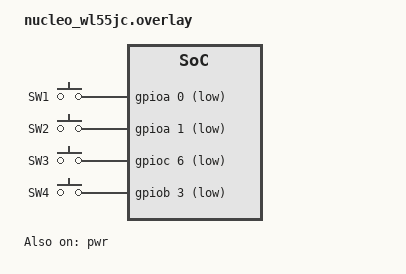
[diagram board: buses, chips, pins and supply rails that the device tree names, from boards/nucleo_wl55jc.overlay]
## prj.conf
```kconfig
CONFIG_LOG=y
CONFIG_LORA=y
CONFIG_LORAWAN=y
CONFIG_LORAMAC_REGION_EU868=y
CONFIG_MAIN_STACK_SIZE=2048
CONFIG_SYSTEM_WORKQUEUE_STACK_SIZE=2048

CONFIG_PM=y
CONFIG_PM_DEVICE=y
CONFIG_PM_DEVICE_RUNTIME=y
CONFIG_PM_DEVICE_SYSTEM_MANAGED=y


CONFIG_POWEROFF=y
CONFIG_STM32_WKUP_PINS=y
CONFIG_GPIO=y


CONFIG_FLASH=y
CONFIG_FLASH_MAP=y
CONFIG_NVS=y
CONFIG_SETTINGS=y
CONFIG_SETTINGS_NVS=y # Use NVS as the backend for settings

# Depending on your STM32WL55 flash configuration, you might need
# SOC-specific flash driver options enabled as well.
# e.g., CONFIG_FLASH_STM32_FLASH_SUBSEC=y (if applicable to your variant/driver)
```

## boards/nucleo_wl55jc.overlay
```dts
/*
 * Copyright (c) 2024 STMicroelectronics
 *
 * SPDX-License-Identifier: Apache-2.0
 */

 // app.overlay
/ {
    chosen {
        zephyr,settings = &settings_partition;
    };
};

&flash0 {
    partitions {
        compatible = "fixed-partitions";
        //#address-cells = ;
        //#size-cells = ;
		#address-cells = <1>;
		#size-cells = <1>;


        // Assuming your application partition is defined elsewhere
        // or takes up space from flash_primary automatically.

        settings_partition: partition@3e000 { // For 256KB Flash
            label = "storage";
            reg = <0x0003e000 0x00002000>;   // Start: 0x0803E000, Size: 8KB
        };
    };
};

/{
	gpio_keys {
		compatible = "gpio-keys";
		user_button_1: button_0 {
			label = "SW1";
			gpios = <&gpioa 0 (GPIO_ACTIVE_LOW | GPIO_PULL_UP)>;
			zephyr,code = <INPUT_KEY_0>;
		};
		user_button_2: button_1 {
			label = "SW2";
			gpios = <&gpioa 1 (GPIO_ACTIVE_LOW | GPIO_PULL_UP)>;
			zephyr,code = <INPUT_KEY_1>;
		};
		user_button_3: button_2 {
			label = "SW3";
			gpios = <&gpioc 6 (GPIO_ACTIVE_LOW | GPIO_PULL_UP)>;
			zephyr,code = <INPUT_KEY_2>;
		};
 		user_button_4: button_3 {
			label = "SW4";
			gpios = <&gpiob 3 (GPIO_ACTIVE_LOW | GPIO_PULL_UP)>;
			zephyr,code = <INPUT_KEY_3>;
		};
	};
};

/* make sure GPIOB is enabled */
&gpiob {
    status = "okay";
};

/{
    aliases {
        /* now alias wkup-src to that node’s phandle only */
        wkup-src = &user_button_1;
        led1     = &blue_led_1;
        led2     = &green_led_2;
    };
};

&pwr {
	status = "okay";
};
```

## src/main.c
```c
/*
 * Class A LoRaWAN sample application
 *
 * Copyright (c) 2020 Manivannan Sadhasivam <mani@kernel.org>
 *
 * SPDX-License-Identifier: Apache-2.0
 */

#include <zephyr/device.h>
#include <zephyr/lorawan/lorawan.h>
#include <zephyr/kernel.h>

#include <zephyr/device.h>
#include <zephyr/devicetree.h>
#include <zephyr/drivers/gpio.h>
#include <zephyr/sys/poweroff.h>
#include <zephyr/dt-bindings/gpio/stm32-gpio.h>


#include <zephyr/settings/settings.h>



// Variable to hold the dev_nonce in RAM
static uint16_t lorawan_dev_nonce; // LoRaWAN dev_nonce is typically uint16_t but can go up to 2^16-1.
                                 // The LoRaWAN MAC layer in Zephyr might handle the actual dev_nonce.
                                 // What you often need to save is the *frame counter* for persisted sessions,
                                 // or ensure the MAC layer itself persists its dev_nonce.
                                 // Let's assume you're managing it directly for this example,
                                 // or you're saving a related parameter that the stack uses.

// For this example, let's assume we're directly managing and saving the dev_nonce.
// In practice, you'd interface this with the Zephyr LoRaWAN stack's mechanism.
// The Zephyr LoRaWAN stack *should* ideally handle persisting its internal dev_nonce
// if NVS/Settings is enabled. This example shows how you *could* do it manually.

static int lorawan_settings_set(const char *name, size_t len_rd, settings_read_cb read_cb, void *cb_arg) {
    const char *next;
    int rc;

    if (settings_name_steq(name, "dev_nonce", &next) && !next) {
        if (len_rd == 0) { // Key found but no data (should not happen for scalar)
            printk("Error: dev_nonce read with no data\n");
            return -EINVAL;
        }
        rc = read_cb(cb_arg, &lorawan_dev_nonce, sizeof(lorawan_dev_nonce));
        if (rc < 0) {
            printk("Error reading dev_nonce: %d\n", rc);
            return rc;
        }
        printk("SETTINGS: Loaded dev_nonce: %u\n", lorawan_dev_nonce);
        return 0;
    }
    return -ENOENT; // Setting not found
}


// Define the settings handler
SETTINGS_STATIC_HANDLER_DEFINE(
    lorawan_creds,             // Name of the settings group
    "lorawan",                 // Root name in the settings tree (e.g., "lorawan/dev_nonce")
    NULL,                      // Optional get function (can be NULL if direct variable access is ok)
    lorawan_settings_set,      // Set function (called when loading from NVS)
    NULL,                      // Optional commit function (called after all settings in a group are set)
    NULL                       // Optional export function (called when saving all settings)
);


// Function to initialize settings and load stored dev_nonce
void lorawan_settings_init(void) {
    int rc;
    rc = settings_subsys_init();
    if (rc) {
        printk("ERROR: settings_subsys_init failed (rc %d)\n", rc);
        return;
    }

    // Load the specific setting. This will call lorawan_settings_set if "lorawan/dev_nonce" exists.
    rc = settings_load_subtree("lorawan");
    if (rc == -ENOENT) {
        printk("SETTINGS: No lorawan settings found in NVS. Using defaults.\n");
        lorawan_dev_nonce = 0; // Default if not found
    } else if (rc) {
        printk("ERROR: Failed to load lorawan settings (rc %d)\n", rc);
    }

    printk("SETTINGS: Initial dev_nonce: %u\n", lorawan_dev_nonce);
}

// Function to save the current dev_nonce
void lorawan_settings_save_dev_nonce(uint16_t new_dev_nonce) {
    lorawan_dev_nonce = new_dev_nonce;
    int rc = settings_save_one("lorawan/dev_nonce", &lorawan_dev_nonce, sizeof(lorawan_dev_nonce));
    if (rc) {
        printk("ERROR: Failed to save dev_nonce: %d\n", rc);
    } else {
        printk("SETTINGS: Saved dev_nonce: %u\n", lorawan_dev_nonce);
    }
}


uint16_t lorawan_get_next_dev_nonce(void) {
    return lorawan_dev_nonce;
}

void lorawan_increment_and_save_dev_nonce(void) {
    lorawan_dev_nonce++; // Or however your stack provides the next nonce
    lorawan_settings_save_dev_nonce(lorawan_dev_nonce);
}

#define WAIT_TIME_US 4000000

#define WKUP_SRC_NODE DT_ALIAS(wkup_src)
#if !DT_NODE_HAS_STATUS_OKAY(WKUP_SRC_NODE)
#error "Unsupported board: wkup_src devicetree alias is not defined"
#endif

static const struct gpio_dt_spec button = GPIO_DT_SPEC_GET(WKUP_SRC_NODE, gpios);
static const struct gpio_dt_spec led_0 = GPIO_DT_SPEC_GET(DT_ALIAS(led0), gpios);
static const struct gpio_dt_spec led_1 = GPIO_DT_SPEC_GET(DT_ALIAS(led1), gpios);
static const struct gpio_dt_spec led_2 = GPIO_DT_SPEC_GET(DT_ALIAS(led2), gpios);

/* Customize based on network configuration */
#define LORAWAN_DEV_EUI			{ 0x00, 0x80, 0xE1, 0x15, 0x05, 0x31, 0x08, 0x37 }
#define LORAWAN_JOIN_EUI		{ 0x01, 0x01, 0x01, 0x01, 0x01, 0x01,\
					  0x01, 0x01 }
#define LORAWAN_APP_KEY			{ 0x2B, 0x7E, 0x15, 0x16, 0x28, 0xAE,\
					  0xD2, 0xA6, 0xAB, 0xF7, 0x15, 0x88,\
					  0x09, 0xCF, 0x4F, 0x3C }

#define DELAY K_MSEC(120000)



#define LOG_LEVEL CONFIG_LOG_DEFAULT_LEVEL
#include <zephyr/logging/log.h>
LOG_MODULE_REGISTER(lorawan_class_a);

char data[] = {'h', 'e', 'l', 'l', 'o', 'w', 'o', 'r', 'l', 'd'};

static void dl_callback(uint8_t port, uint8_t flags, int16_t rssi, int8_t snr, uint8_t len,
			const uint8_t *hex_data)
{
	LOG_INF("Port %d, Pending %d, RSSI %ddB, SNR %ddBm, Time %d", port,
		flags & LORAWAN_DATA_PENDING, rssi, snr, !!(flags & LORAWAN_TIME_UPDATED));
	if (hex_data) {
		LOG_HEXDUMP_INF(hex_data, len, "Payload: ");
	}
}

static void lorwan_datarate_changed(enum lorawan_datarate dr)
{
	uint8_t unused, max_size;

	lorawan_get_payload_sizes(&unused, &max_size);
	LOG_INF("New Datarate: DR_%d, Max Payload %d", dr, max_size);
}

int main(void)
{

	__ASSERT_NO_MSG(gpio_is_ready_dt(&led_0));
	gpio_pin_configure_dt(&led_0, GPIO_OUTPUT_ACTIVE);
	gpio_pin_set(led_0.port, led_0.pin, 1);

	const struct device *lora_dev;
	struct lorawan_join_config join_cfg;
	uint8_t dev_eui[] = LORAWAN_DEV_EUI;
	uint8_t join_eui[] = LORAWAN_JOIN_EUI;
	uint8_t app_key[] = LORAWAN_APP_KEY;
	int ret;

    /* Configure wakeup pin (wkup) as input and read its value */
    const struct gpio_dt_spec wkup = GPIO_DT_SPEC_GET(WKUP_SRC_NODE, gpios);
    if (!device_is_ready(wkup.port)) {
        LOG_ERR("Wakeup GPIO device not ready");
        return 0;
    }
    ret = gpio_pin_configure_dt(&wkup, GPIO_INPUT);
    if (ret < 0) {
        LOG_ERR("Failed to configure wakeup pin: %d", ret);
        return 0;
    }
    int val = gpio_pin_get_dt(&wkup);
    if (val < 0) {
        LOG_ERR("Failed to read wakeup pin: %d", val);
        return 0;
    }
    LOG_INF("Wakeup pin value: %d", val);

	if(val == 0) {
		gpio_pin_set(led_0.port, led_0.pin, 0);
		/* Setup button GPIO pin as a source for exiting Poweroff */
		gpio_pin_configure_dt(&button, STM32_GPIO_WKUP);
		/* If the wakeup pin is low, enter low power mode */
		LOG_INF("Entering low power mode...");
		k_sleep(K_MSEC(WAIT_TIME_US / 1000));
		sys_poweroff();

	} else {
		LOG_INF("Wakeup pin is high, continuing...");
	}

	struct lorawan_downlink_cb downlink_cb = {
		.port = LW_RECV_PORT_ANY,
		.cb = dl_callback
	};

	lora_dev = DEVICE_DT_GET(DT_ALIAS(lora0));
	if (!device_is_ready(lora_dev)) {
		LOG_ERR("%s: device not ready.", lora_dev->name);
		return 0;
	}

#if defined(CONFIG_LORAMAC_REGION_EU868)
	/* If more than one region Kconfig is selected, app should set region
	 * before calling lorawan_start()
	 */
	ret = lorawan_set_region(LORAWAN_REGION_EU868);
	if (ret < 0) {
		LOG_ERR("lorawan_set_region failed: %d", ret);
		return 0;
	}
#endif

	__ASSERT_NO_MSG(gpio_is_ready_dt(&led_1));
	gpio_pin_configure_dt(&led_1, GPIO_OUTPUT_ACTIVE);
	gpio_pin_set(led_1.port, led_1.pin, 1);

	ret = lorawan_start();
	if (ret < 0) {
		LOG_ERR("lorawan_start failed: %d", ret);
		return 0;
	}

	lorawan_register_downlink_callback(&downlink_cb);
	lorawan_register_dr_changed_callback(lorwan_datarate_changed);
	lorawan_settings_init();
	join_cfg.mode = LORAWAN_ACT_OTAA;
	join_cfg.dev_eui = dev_eui;
	join_cfg.otaa.join_eui = join_eui;
	join_cfg.otaa.app_key = app_key;
	join_cfg.otaa.nwk_key = app_key;

	int joined = 10;
	while(joined > 0) {
		join_cfg.otaa.dev_nonce = lorawan_get_next_dev_nonce();
		LOG_INF("Joining network over OTAA ... attempt %d nonce %u", 10 - joined,join_cfg.otaa.dev_nonce);
		ret = lorawan_join(&join_cfg);
		if (ret < 0) {
			LOG_ERR("lorawan_join_network failed: %d continue", ret);
		} else {
			break;
		}

		k_sleep(K_MSEC(1000));
		joined--;
		lorawan_increment_and_save_dev_nonce();
		LOG_INF("Waiting for join... %d", joined);
	}

	if (ret < 0) {
		LOG_ERR("lorawan_join_network failed: %d", ret);
		gpio_pin_set(led_2.port, led_2.pin, 1);
			return 0;
	}


	gpio_pin_set(led_1.port, led_1.pin, 0);
	k_sleep(K_MSEC(1000));

	__ASSERT_NO_MSG(gpio_is_ready_dt(&led_2));
	gpio_pin_configure_dt(&led_2, GPIO_OUTPUT_ACTIVE);
	while (1) {

		/* Configure wakeup pin (wkup) as input and read its value */
		/* This allows to rearm the device without unplugging the battery */
		gpio_pin_set(led_2.port, led_2.pin, 1);
		ret = gpio_pin_configure_dt(&wkup, GPIO_INPUT);
		if (ret < 0) {
	        LOG_ERR("Failed to configure wakeup pin: %d", ret);
			return 0;
		}
		int val = gpio_pin_get_dt(&wkup);
    	if (val < 0) {
	        LOG_ERR("Failed to read wakeup pin: %d", val);
        	return 0;
    	}
		data[0] = (uint8_t) val;
		gpio_pin_set(led_1.port, led_1.pin, val);







		LOG_INF("Sending data...");
		/* Send the wakeup pin value as the first byte of the payload
		It allows the backend to determine if this has stopped because the 
		device was rearmed */
    	LOG_INF("Wakeup pin value: %d", val);
		ret = lorawan_send(2, data, sizeof(char),
				   LORAWAN_MSG_CONFIRMED);

		/*
		 * Note: The stack may return -EAGAIN if the provided data
		 * length exceeds the maximum possible one for the region and
		 * datarate. But since we are just sending the same data here,
		 * we'll just continue.
		 */
		if (ret == -EAGAIN) {
			LOG_ERR("lorawan_send failed: %d. Continuing...", ret);
			k_sleep(DELAY);
			continue;
		} else {}

		if (ret < 0) {
			LOG_ERR("lorawan_send failed: %d", ret);
		}

		LOG_INF("Data sent!");










		/* If GPIO was low, go back to sleep */
		if(val == 0) {
			gpio_pin_set(led_2.port, led_2.pin, 0);
			gpio_pin_set(led_1.port, led_1.pin, 0);
			gpio_pin_set(led_0.port, led_0.pin, 0);
			/* Setup button GPIO pin as a source for exiting Poweroff */
			gpio_pin_configure_dt(&button, STM32_GPIO_WKUP);
			/* If the wakeup pin is low, enter low power mode */
			LOG_INF("Entering low power mode...");
			k_sleep(K_MSEC(WAIT_TIME_US / 1000));
			sys_poweroff();
		} else {
			LOG_INF("Wakeup pin is high, continuing...");
		}
		gpio_pin_set(led_2.port, led_2.pin, 0);
		gpio_pin_set(led_1.port, led_1.pin, 0);
		gpio_pin_set(led_0.port, led_0.pin, 0);
		k_sleep(DELAY);
	}
}
```
